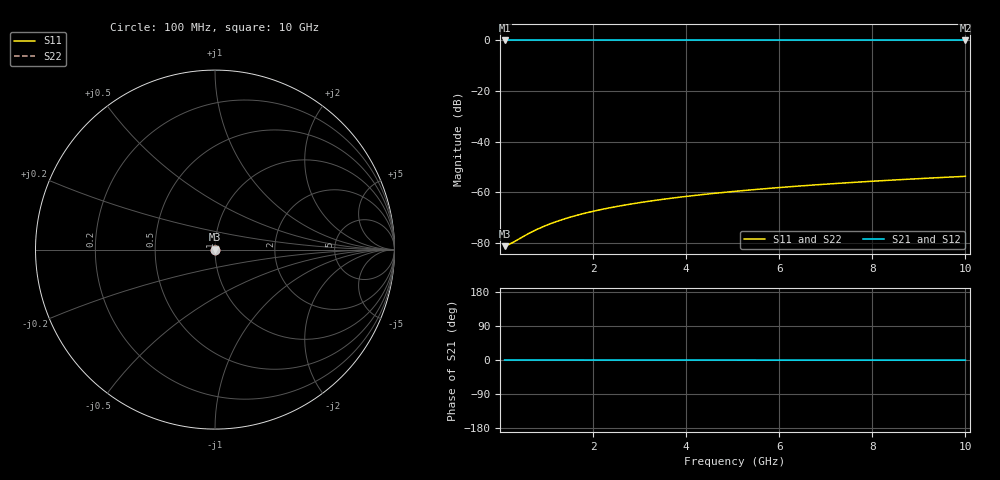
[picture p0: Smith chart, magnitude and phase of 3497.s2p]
# Hz S RI R 50.00
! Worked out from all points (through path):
!   100 points, 100 MHz to 10 GHz, reference 50 ohm
!   highest |S21| = 0.00 dB at 100 MHz (marker M1); lowest = 0.0 dB at 10 GHz (marker M2)
!   lowest |S11| = -81.2 dB at 100 MHz (marker M3), VSWR 1.00, Z = 50 + j0.00208 ohm
!   |S11| at or under -10 dB: start of sweep to end of sweep
!   |S22| runs from -81.2 to -53.6 dB; largest |S21 - S12| = 1e-15
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1e8  8.46e-05 2.08e-05  0.9999 -5.27e-05  0.9999 -5.27e-05  8.46e-05 2.08e-05
2e8  8.51e-05 4.15e-05  0.9999 -0.000105  0.9999 -0.000105  8.51e-05 4.15e-05
3e8  8.55e-05 6.23e-05  0.9999 -0.000158  0.9999 -0.000158  8.55e-05 6.23e-05
5e8  8.62e-05 0.000104  0.9999 -0.000264  0.9999 -0.000264  8.62e-05 0.000104
7e8  8.66e-05 0.000145  0.9999 -0.000369  0.9999 -0.000369  8.66e-05 0.000145
9e8  8.71e-05 0.000187  0.9999 -0.000475  0.9999 -0.000475  8.71e-05 0.000187
1.1e9  8.74e-05 0.000228  0.9999 -0.00058  0.9999 -0.00058  8.74e-05 0.000228
1.4e9  8.79e-05 0.000291  0.9999 -0.000738  0.9999 -0.000738  8.79e-05 0.000291
1.6e9  8.82e-05 0.000332  0.9999 -0.000844  0.9999 -0.000844  8.82e-05 0.000332
1.8e9  8.86e-05 0.000374  0.9999 -0.000949  0.9999 -0.000949  8.86e-05 0.000374
2.1e9  8.9e-05 0.000436  0.9999 -0.00111  0.9999 -0.00111  8.9e-05 0.000436
2.5e9  8.96e-05 0.000519  0.9999 -0.00132  0.9999 -0.00132  8.96e-05 0.000519
2.9e9  9.02e-05 0.000602  0.9999 -0.00153  0.9999 -0.00153  9.02e-05 0.000602
3.4e9  9.09e-05 0.000706  0.9999 -0.00179  0.9999 -0.00179  9.09e-05 0.000706
3.8e9  9.16e-05 0.000789  0.9999 -0.002  0.9999 -0.002  9.16e-05 0.000789
4.2e9  9.22e-05 0.000872  0.9999 -0.00222  0.9999 -0.00222  9.22e-05 0.000872
5.1e9  9.38e-05 0.00106  0.9999 -0.00269  0.9999 -0.00269  9.38e-05 0.00106
5.9e9  9.53e-05 0.00122  0.9999 -0.00311  0.9999 -0.00311  9.53e-05 0.00122
6.7e9  9.69e-05 0.00139  0.9999 -0.00354  0.9999 -0.00354  9.69e-05 0.00139
7.5e9  9.87e-05 0.00156  0.9999 -0.00396  0.9999 -0.00396  9.87e-05 0.00156
8.4e9  0.000101 0.00175  0.9999 -0.00444  0.9999 -0.00444  0.000101 0.00175
1e10  0.000105 0.00208  0.9999 -0.00529  0.9999 -0.00529  0.000105 0.00208
